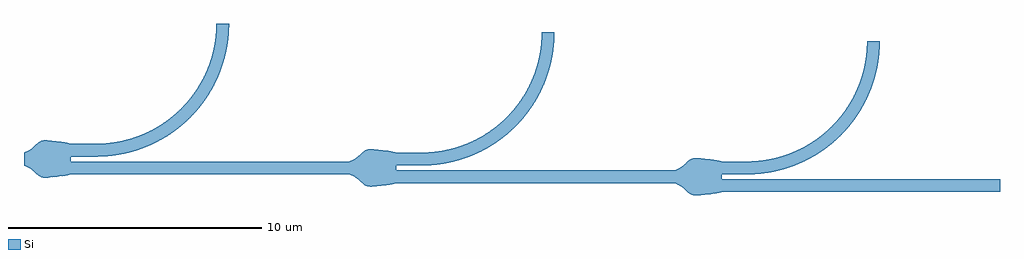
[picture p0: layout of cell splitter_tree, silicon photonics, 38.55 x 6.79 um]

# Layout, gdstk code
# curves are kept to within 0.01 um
import gdstk
lib = gdstk.Library(unit=1e-6, precision=1e-09)
def R(c, l, rs):  # rectangles x0, y0, x1, y1
    for r in rs: c.add(gdstk.rectangle(r[:2], r[2:], *l))
def P(c, l, *ps):  # polygons
    for p in ps: c.add(gdstk.Polygon(p, *l))
Si = (1, 0)

device = lib.new_cell('device')
R(device, Si, [(1.85,-0.6,2.85,-0.1), (1.85,0.1,2.85,0.6)])
P(device, Si, [(0.841,-0.736),(0.729,-0.724),(0.617,-0.679),(0.262,-0.38),(0,-0.25),(0,0.25),(0.262,0.38),(0.617,0.679),(0.729,0.724),(0.841,0.736),(0.934,0.731),(0.934,-0.731)],
  [(0.934,-0.731),(0.934,0.731),(1.532,0.668),(1.85,0.6),(1.85,-0.6),(1.532,-0.668)])

c_wg = lib.new_cell('WG')
R(c_wg, Si, [(0,-0.95,10,-0.45)])
P(c_wg, Si, [(0,-0.25),(0,0.25),(0.311,0.26),(0.641,0.293),(0.891,0.334),(1.251,0.418),(2.562,0.418),(2.281,0.271),(1.962,0.13),(1.615,0.004),(1.319,-0.082),(0.959,-0.162),(0.634,-0.212)],
  [(4.356,3.106),(4.539,3.599),(4.666,4.109),(4.731,4.572),(4.75,5),(5.25,5),(5.231,4.549),(5.162,4.041),(5.044,3.542),(4.896,3.106)],
  [(2.783,0.548),(2.783,1.151),(3.19,1.481),(3.896,1.481),(3.669,1.244),(3.333,0.943),(3.073,0.743)],
  [(1.251,0.418),(1.641,0.542),(2.036,0.708),(2.448,0.929),(2.783,1.151),(2.783,0.548),(2.562,0.418)],
  [(3.19,1.481),(3.474,1.76),(3.74,2.071),(3.967,2.387),(4.149,2.687),(4.149,1.783),(4.134,1.763),(3.896,1.481)],
  [(4.149,1.783),(4.149,2.687),(4.356,3.106),(4.896,3.106),(4.738,2.738),(4.577,2.428),(4.374,2.096)])

splitter_tree = lib.new_cell('splitter_tree')
splitter_tree.add(gdstk.Reference(device, (0,1.436)))
splitter_tree.add(gdstk.Reference(device, (12.85,1.086)))
splitter_tree.add(gdstk.Reference(device, (25.7,0.736)))
splitter_tree.add(gdstk.Reference(c_wg, (2.85,1.786)))
splitter_tree.add(gdstk.Reference(c_wg, (15.7,1.436)))
splitter_tree.add(gdstk.Reference(c_wg, (28.55,1.086)))

lib.write_gds('splitter_tree.gds')
